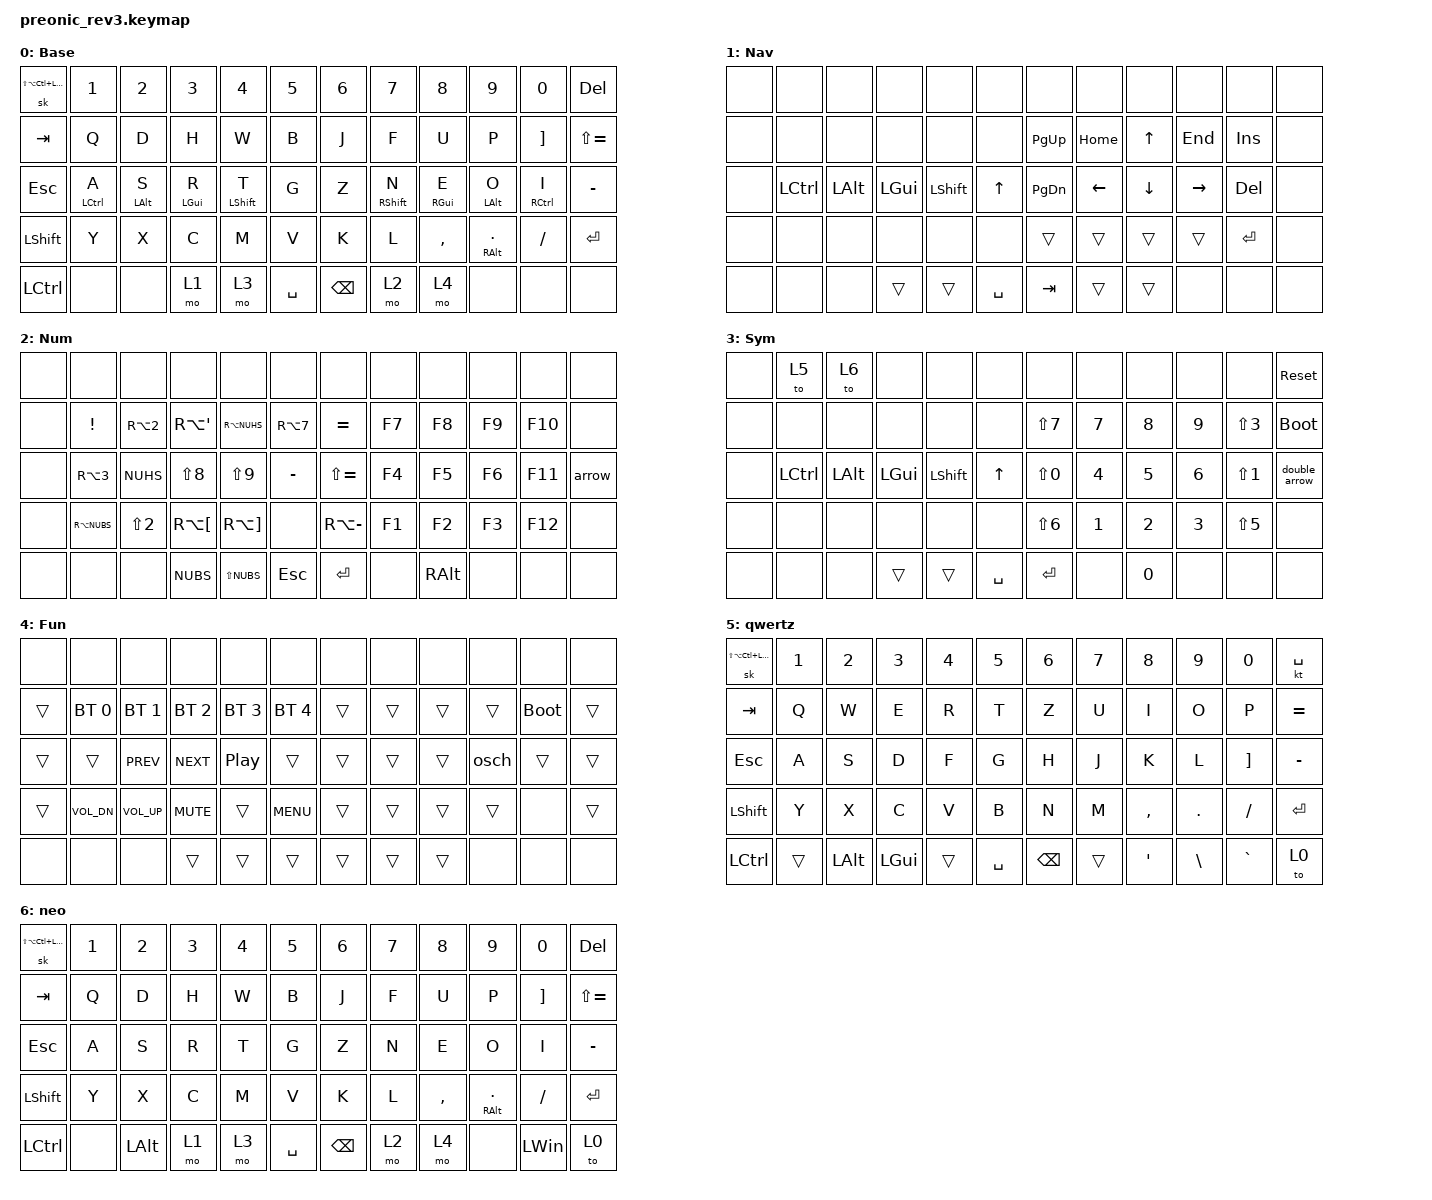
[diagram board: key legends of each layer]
/*
 * U_Copyright (c) 2022 The ZMK Contributors
 *
 * SPDX-License-Identifier: MIT
 */

#include <behaviors.dtsi>
#include <dt-bindings/zmk/bt.h>
#include <dt-bindings/zmk/keys.h>
#include <dt-bindings/zmk/keys.h>

#define BASE    0
#define UL_NAV     1
#define UL_MOUSE   2
#define UL_MEDIA   3
#define UL_NUM     4
#define UL_SYM     5
#define UL_FUN     6
#define U_COPY  LC(C)
#define U_CUT   LC(X)
#define U_PASTE LC(V)
#define U_UNDO  LC(Z)
#define U_REDO  LC(LS(Z))

&mt {
    tapping-term-ms = <400>;
    flavor = "tap-preferred";
};

/ {
    chosen { zmk,matrix-transform = &layout_grid_transform; };

    behaviors {
        hm: homerow_mods {
            compatible = "zmk,behavior-hold-tap";
            #binding-cells = <2>;
            tapping-term-ms = <150>;
            quick-tap-ms = <0>;
            flavor = "tap-preferred";
            bindings = <&kp>, <&kp>;
        };

        u_lt: u_lt {
            compatible = "zmk,behavior-hold-tap";
            label = "u_lt";
            #binding-cells = <2>;
            tapping_term_ms = <200>;
            flavor = "tap-preferred";
            bindings = <&mo>, <&kp>;
        };
    };

    combos {
        compatible = "zmk,combos";

        compose {
            bindings = <&kp F24>;
            key-positions = <15 16>;
        };

        e_aigu {
            bindings = <&kp LS(SEMICOLON)>;
            key-positions = <32 20>;
        };

        e_grave {
            bindings = <&kp LBRC>;
            key-positions = <32 44>;
        };

        a_grave {
            bindings = <&kp LS(SINGLE_QUOTE)>;
            key-positions = <25 37>;
        };

        hat {
            bindings = <&kp EQUAL>;
            key-positions = <33 31>;
        };

        e_hat {
            bindings = <&e_hat>;
            key-positions = <33 32 31>;
        };

        YN {
            bindings = <&kp LS(N0)>;
            key-positions = <30 31>;
        };
    };

    macros {
        double_arrow: double_arrow {
            compatible = "zmk,behavior-macro";
            #binding-cells = <0>;
            bindings = <&kp LS(N0) &kp LS(NUBS)>;
            label = "DOUBLE_ARROW";
        };

        arrow: arrow {
            compatible = "zmk,behavior-macro";
            #binding-cells = <0>;
            bindings = <&kp SLASH &kp LS(NUBS)>;
            label = "ARROW";
        };

        osch: osch {
            compatible = "zmk,behavior-macro";
            #binding-cells = <0>;
            bindings = <&kp LS(O) &kp LS(S) &kp LS(C) &kp LS(H)>;
            label = "OSCH";
        };

        e_hat: e_hat {
            compatible = "zmk,behavior-macro";
            #binding-cells = <0>;
            bindings = <&kp EQUAL &kp E>;
            label = "E_HAT";
        };
    };

    keymap {
        compatible = "zmk,keymap";

        base_layer {
            label = "Base";
            bindings = <
&sk LS(LA(LC(LGUI)))  &kp N1       &kp N2          &kp N3          &kp N4        &kp N5     &kp N6         &kp N7        &kp N8           &kp N9          &kp N0             &kp DEL
&kp TAB               &kp Q        &kp D           &kp H           &kp W         &kp B      &kp J          &kp F         &kp U            &kp P           &kp RIGHT_BRACKET  &kp LS(EQUAL)
&kp ESC               &mt LCTRL A  &mt LEFT_ALT S  &mt LEFT_GUI R  &mt LSHIFT T  &kp G      &kp Z          &mt RSHIFT N  &mt RIGHT_GUI E  &mt LEFT_ALT O  &mt RCTRL I        &kp MINUS
&kp LSHFT             &kp Y        &kp X           &kp C           &kp M         &kp V      &kp K          &kp L         &kp COMMA        &mt RALT DOT    &kp FSLH           &kp ENTER
&kp LCTRL             &none        &none           &mo 1           &mo 3         &kp SPACE  &kp BACKSPACE  &mo 2         &mo 4            &none           &none              &none
            >;
        };

        nav_layer {
            label = "Nav";
            bindings = <
&none  &none      &none         &none         &none       &none         &none          &none           &none         &none      &none      &none
&none  &none      &none         &none         &none       &none         &kp PAGE_UP    &kp HOME        &kp UP_ARROW  &kp END    &kp INS    &none
&none  &kp LCTRL  &kp LEFT_ALT  &kp LEFT_GUI  &kp LSHIFT  &kp UP_ARROW  &kp PAGE_DOWN  &kp LEFT_ARROW  &kp DOWN      &kp RIGHT  &kp DEL    &none
&none  &none      &none         &none         &none       &none         &trans         &trans          &trans        &trans     &kp ENTER  &none
&none  &none      &none         &trans        &trans      &kp SPACE     &kp TAB        &trans          &trans        &none      &none      &none
            >;
        };

        sym {
            label = "Num";
            bindings = <
&none  &none             &none             &none         &none         &none       &none          &none   &none     &none   &none    &none
&none  &kp EXCL          &kp RA(NUMBER_2)  &kp RA(SQT)   &kp RA(NUHS)  &kp RA(N7)  &kp EQUAL      &kp F7  &kp F8    &kp F9  &kp F10  &none
&none  &kp RA(NUMBER_3)  &kp NUHS          &kp LS(N8)    &kp LS(N9)    &kp MINUS   &kp LS(EQUAL)  &kp F4  &kp F5    &kp F6  &kp F11  &arrow
&none  &kp RA(NUBS)      &kp LS(NUMBER_2)  &kp RA(LBKT)  &kp RA(RBKT)  &none       &kp RA(MINUS)  &kp F1  &kp F2    &kp F3  &kp F12  &none
&none  &none             &none             &kp NUBS      &kp LS(NUBS)  &kp ESC     &kp RET        &none   &kp RALT  &none   &none    &none
            >;
        };

        num {
            label = "Sym";
            bindings = <
&none  &to 5      &to 6         &none         &none       &none         &none       &none         &none   &none         &none       &sys_reset
&none  &none      &none         &none         &none       &none         &kp LS(N7)  &kp N7        &kp N8  &kp N9        &kp LS(N3)  &bootloader
&none  &kp LCTRL  &kp LEFT_ALT  &kp LEFT_GUI  &kp LSHIFT  &kp UP_ARROW  &kp LS(N0)  &kp NUMBER_4  &kp N5  &kp NUMBER_6  &kp LS(N1)  &double_arrow
&none  &none      &none         &none         &none       &none         &kp LS(N6)  &kp N1        &kp N2  &kp N3        &kp LS(N5)  &none
&none  &none      &none         &trans        &trans      &kp SPACE     &kp ENTER   &none         &kp N0  &none         &none       &none
            >;
        };

        Fn {
            label = "Fun";
            bindings = <
&none   &none         &none         &none         &none             &none         &none   &none   &none   &none   &none        &none
&trans  &bt BT_SEL 0  &bt BT_SEL 1  &bt BT_SEL 2  &bt BT_SEL 3      &bt BT_SEL 4  &trans  &trans  &trans  &trans  &bootloader  &trans
&trans  &trans        &kp C_PREV    &kp C_NEXT    &kp C_PLAY_PAUSE  &trans        &trans  &trans  &trans  &osch   &trans       &trans
&trans  &kp C_VOL_DN  &kp C_VOL_UP  &kp C_MUTE    &trans            &kp K_MENU    &trans  &trans  &trans  &trans  &none        &trans
&none   &none         &none         &trans        &trans            &trans        &trans  &trans  &trans  &none   &none        &none
            >;
        };

        qwertz {
            bindings = <
&sk LS(LA(LC(LGUI)))  &kp N1  &kp N2    &kp N3    &kp N4  &kp N5     &kp N6    &kp N7  &kp N8     &kp N9    &kp N0     &kt SPACE
&kp TAB               &kp Q   &kp W     &kp E     &kp R   &kp T      &kp Z     &kp U   &kp I      &kp O     &kp P      &kp EQUAL
&kp ESC               &kp A   &kp S     &kp D     &kp F   &kp G      &kp H     &kp J   &kp K      &kp L     &kp RBKT   &kp MINUS
&kp LSHFT             &kp Y   &kp X     &kp C     &kp V   &kp B      &kp N     &kp M   &kp COMMA  &kp DOT   &kp FSLH   &kp ENTER
&kp LCTRL             &trans  &kp LALT  &kp LGUI  &trans  &kp SPACE  &kp BSPC  &trans  &kp APOS   &kp BSLH  &kp GRAVE  &to 0
            >;
        };

        neo {
            label = "neo";
            bindings = <
&sk LS(LA(LC(LGUI)))  &kp N1  &kp N2        &kp N3  &kp N4  &kp N5     &kp N6         &kp N7  &kp N8     &kp N9        &kp N0             &kp DEL
&kp TAB               &kp Q   &kp D         &kp H   &kp W   &kp B      &kp J          &kp F   &kp U      &kp P         &kp RIGHT_BRACKET  &kp LS(EQUAL)
&kp ESC               &kp A   &kp S         &kp R   &kp T   &kp G      &kp Z          &kp N   &kp E      &kp O         &kp I              &kp MINUS
&kp LSHFT             &kp Y   &kp X         &kp C   &kp M   &kp V      &kp K          &kp L   &kp COMMA  &mt RALT DOT  &kp FSLH           &kp ENTER
&kp LCTRL             &none   &kp LEFT_ALT  &mo 1   &mo 3   &kp SPACE  &kp BACKSPACE  &mo 2   &mo 4      &none         &kp LEFT_WIN       &to 0
            >;
        };
    };
};
